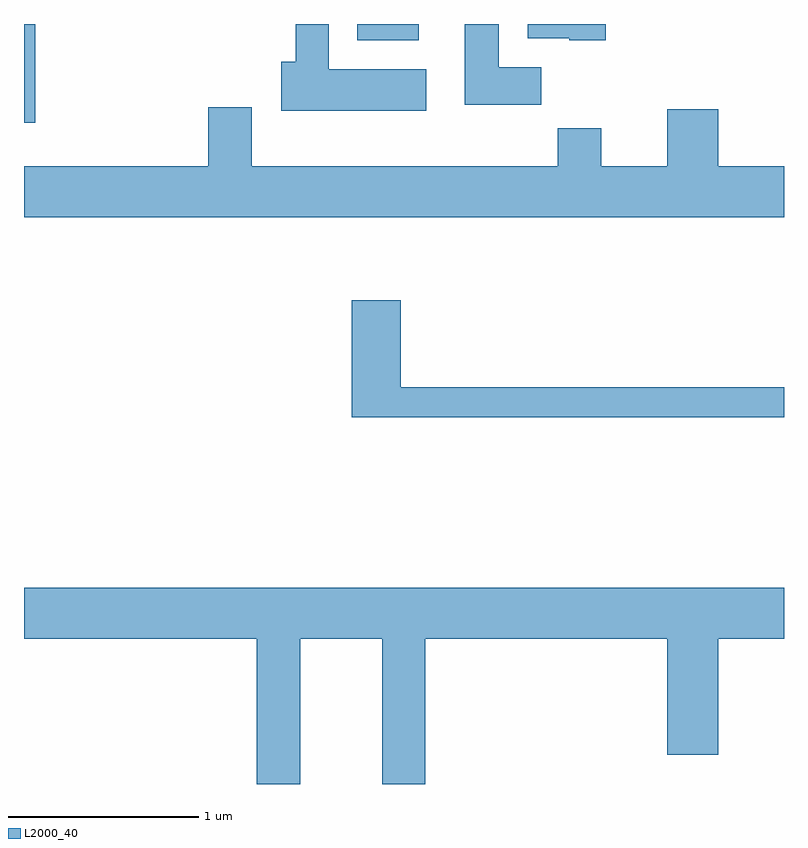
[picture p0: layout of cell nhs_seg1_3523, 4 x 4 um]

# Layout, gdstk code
import gdstk
lib = gdstk.Library(unit=1e-6, precision=1e-09)
def R(c, l, rs):  # rectangles x0, y0, x1, y1
    for r in rs: c.add(gdstk.rectangle(r[:2], r[2:], *l))
def P(c, l, *ps):  # polygons
    for p in ps: c.add(gdstk.Polygon(p, *l))
L2000_40 = (2000, 40)

nhs_seg1_3523 = lib.new_cell('nhs_seg1_3523')
R(nhs_seg1_3523, L2000_40, [(291.611,891.191,291.669,891.712), (293.366,891.626,293.689,891.712)])
P(nhs_seg1_3523, L2000_40, [(293.729,891.474),(293.214,891.474),(293.214,891.712),(293.041,891.712),(293.041,891.514),(292.966,891.514),(292.966,891.256),(293.729,891.256)],
  [(294.334,891.484),(294.109,891.484),(294.109,891.712),(293.931,891.712),(293.931,891.286),(294.334,891.286)],
  [(294.674,891.712),(294.261,891.712),(294.261,891.636),(294.48,891.636),(294.48,891.626),(294.674,891.626)],
  [(295.611,890.964),(295.264,890.964),(295.264,891.264),(294.996,891.264),(294.996,890.964),(294.649,890.964),(294.649,891.164),(294.421,891.164),(294.421,890.964),(292.809,890.964),(292.809,891.274),(292.581,891.274),(292.581,890.964),(291.611,890.964),(291.611,890.696),(295.611,890.696)],
  [(295.611,889.799),(293.594,889.799),(293.594,890.259),(293.336,890.259),(293.336,889.641),(295.611,889.641)],
  [(293.064,888.476),(293.496,888.476),(293.496,887.712),(293.724,887.712),(293.724,888.476),(294.996,888.476),(294.996,887.866),(295.264,887.866),(295.264,888.476),(295.611,888.476),(295.611,888.744),(291.611,888.744),(291.611,888.476),(292.836,888.476),(292.836,887.712),(293.064,887.712)])

lib.write_gds('nhs_seg1_3523.gds')
